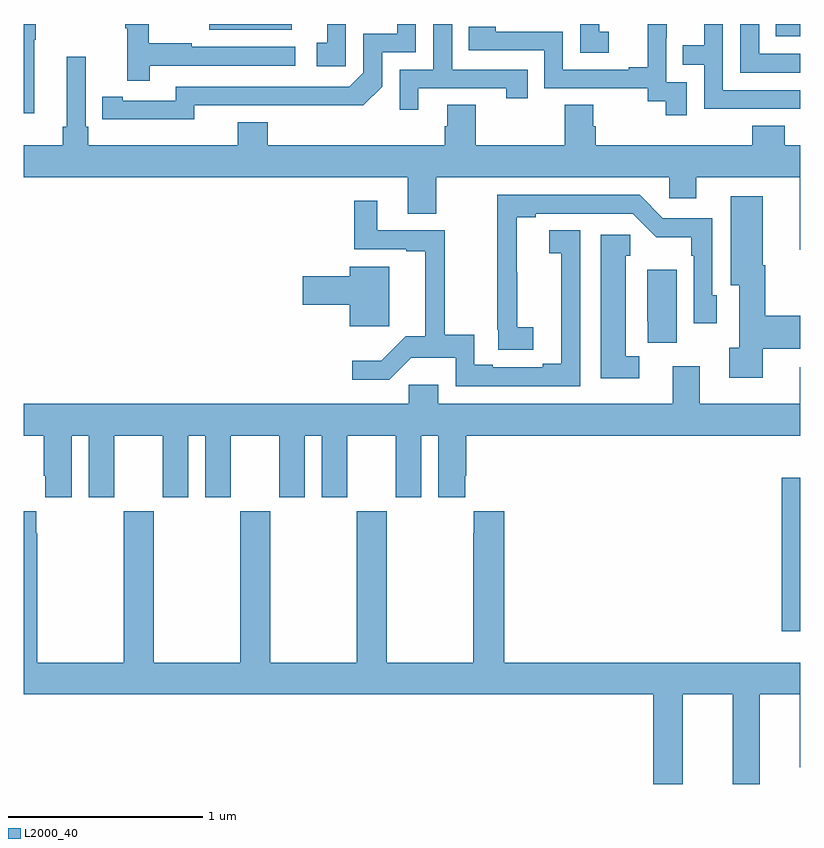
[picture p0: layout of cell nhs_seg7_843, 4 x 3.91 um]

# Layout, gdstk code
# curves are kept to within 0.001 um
import gdstk
lib = gdstk.Library(unit=1e-6, precision=1e-09)
def R(c, l, rs):  # rectangles x0, y0, x1, y1
    for r in rs: c.add(gdstk.rectangle(r[:2], r[2:], *l))
def P(c, l, *ps):  # polygons
    for p in ps: c.add(gdstk.Polygon(p, *l))
L2000_40 = (2000, 40)

nhs_seg7_843 = lib.new_cell('nhs_seg7_843')
R(nhs_seg7_843, L2000_40, [(176.904,1068.873,177,1069.664), (176.872,1071.938,177,1072), (173.955,1071.971,174.382,1072)])
P(nhs_seg7_843, L2000_40, [(174.66,1072),(174.563,1072),(174.563,1071.903),(174.51,1071.903),(174.51,1071.783),(174.66,1071.783)],
  [(176.014,1071.961),(175.965,1071.961),(175.965,1072),(175.866,1072),(175.866,1071.852),(176.014,1071.852)],
  [(175.033,1071.669),(175.484,1071.669),(175.484,1071.618),(175.595,1071.618),(175.595,1071.765),(175.206,1071.765),(175.206,1072),(175.11,1072),(175.11,1071.765),(174.936,1071.765),(174.936,1071.558),(175.033,1071.558)],
  [(176.415,1071.699),(176.31,1071.699),(176.31,1071.929),(176.312,1071.929),(176.312,1072),(176.213,1072),(176.213,1071.778),(176.117,1071.778),(176.117,1071.765),(175.776,1071.765),(175.776,1071.96),(175.431,1071.96),(175.431,1071.987),(175.291,1071.987),(175.291,1071.864),(175.68,1071.864),(175.68,1071.669),(176.214,1071.669),(176.214,1071.601),(176.307,1071.601),(176.307,1071.531),(176.415,1071.531)],
  [(177,1071.66),(176.601,1071.66),(176.601,1072),(176.505,1072),(176.505,1071.89),(176.395,1071.89),(176.395,1071.789),(176.505,1071.789),(176.505,1071.564),(177,1071.564)],
  [(177,1071.846),(176.787,1071.846),(176.787,1072),(176.691,1072),(176.691,1071.75),(177,1071.75)],
  [(173.056,1071.919),(173.064,1071.919),(173.064,1072),(173,1072),(173,1071.54),(173.056,1071.54)],
  [(173.88,1071.582),(174.748,1071.581),(174.846,1071.678),(174.846,1071.855),(175.02,1071.855),(175.02,1072),(174.923,1072),(174.923,1071.951),(174.75,1071.951),(174.75,1071.75),(174.678,1071.678),(173.784,1071.678),(173.784,1071.606),(173.512,1071.606),(173.512,1071.626),(173.404,1071.626),(173.404,1071.51),(173.88,1071.509)],
  [(173.651,1071.786),(174.4,1071.786),(174.4,1071.882),(173.867,1071.882),(173.867,1071.902),(173.644,1071.902),(173.644,1072),(173.523,1072),(173.523,1071.979),(173.534,1071.979),(173.534,1071.708),(173.651,1071.708)],
  [(177,1071.376),(176.918,1071.376),(176.918,1071.475),(176.753,1071.475),(176.753,1071.376),(175.946,1071.376),(175.946,1071.474),(175.933,1071.474),(175.933,1071.584),(175.786,1071.584),(175.786,1071.376),(175.329,1071.376),(175.329,1071.584),(175.181,1071.584),(175.181,1071.474),(175.169,1071.474),(175.169,1071.376),(174.257,1071.376),(174.257,1071.493),(174.104,1071.493),(174.104,1071.376),(173.333,1071.376),(173.333,1071.472),(173.319,1071.472),(173.319,1071.832),(173.222,1071.832),(173.222,1071.472),(173.203,1071.472),(173.203,1071.376),(173,1071.376),(173,1071.212),(174.977,1071.212),(174.977,1071.022),(175.125,1071.022),(175.125,1071.212),(176.325,1071.212),(176.325,1071.102),(176.464,1071.102),(176.464,1071.212),(176.996,1071.212),(176.996,1070.838),(177,1070.838)],
  [(175.624,1070.438),(175.542,1070.438),(175.54,1071.004),(175.636,1071.004),(175.636,1071.024),(176.136,1071.024),(176.257,1070.903),(176.439,1070.903),(176.439,1070.807),(176.451,1070.807),(176.451,1070.46),(176.568,1070.46),(176.568,1070.604),(176.547,1070.604),(176.547,1071),(176.292,1071),(176.172,1071.12),(175.438,1071.12),(175.438,1070.425),(175.444,1070.425),(175.444,1070.323),(175.624,1070.323)],
  [(176.806,1070.327),(177,1070.327),(177,1070.498),(176.819,1070.498),(176.819,1070.758),(176.806,1070.758),(176.806,1071.112),(176.642,1071.112),(176.642,1070.654),(176.684,1070.654),(176.684,1070.334),(176.634,1070.334),(176.634,1070.178),(176.806,1070.178)],
  [(175.866,1070.939),(175.707,1070.939),(175.707,1070.819),(175.768,1070.819),(175.769,1070.252),(175.673,1070.252),(175.673,1070.232),(175.417,1070.232),(175.417,1070.246),(175.32,1070.246),(175.32,1070.399),(175.169,1070.399),(175.169,1070.937),(174.82,1070.937),(174.82,1071.091),(174.703,1071.091),(174.703,1070.841),(174.971,1070.841),(174.971,1070.829),(175.067,1070.829),(175.067,1070.392),(174.967,1070.392),(174.841,1070.266),(174.693,1070.266),(174.693,1070.169),(174.882,1070.169),(174.995,1070.282),(175.224,1070.282),(175.224,1070.136),(175.866,1070.136)],
  [(176.17,1070.289),(176.101,1070.289),(176.101,1070.808),(176.123,1070.808),(176.123,1070.914),(175.973,1070.914),(175.973,1070.177),(176.17,1070.177)],
  [(174.883,1070.749),(174.68,1070.749),(174.68,1070.702),(174.438,1070.702),(174.438,1070.555),(174.68,1070.555),(174.68,1070.444),(174.883,1070.444)],
  [(176.362,1070.734),(176.21,1070.734),(176.21,1070.47),(176.213,1070.47),(176.213,1070.358),(176.362,1070.358)],
  [(173,1069.88),(173.105,1069.88),(173.105,1069.675),(173.111,1069.675),(173.111,1069.563),(173.248,1069.563),(173.248,1069.88),(173.336,1069.88),(173.336,1069.563),(173.467,1069.563),(173.467,1069.88),(173.717,1069.88),(173.717,1069.563),(173.848,1069.563),(173.848,1069.88),(173.936,1069.88),(173.936,1069.563),(174.067,1069.563),(174.067,1069.88),(174.317,1069.88),(174.317,1069.563),(174.448,1069.563),(174.448,1069.88),(174.536,1069.88),(174.536,1069.563),(174.667,1069.563),(174.667,1069.88),(174.917,1069.88),(174.917,1069.563),(175.048,1069.563),(175.048,1069.88),(175.136,1069.88),(175.136,1069.563),(175.273,1069.563),(175.273,1069.675),(175.28,1069.675),(175.28,1069.88),(177,1069.88),(177,1070.233),(176.996,1070.233),(176.996,1070.044),(176.482,1070.044),(176.482,1070.239),(176.342,1070.239),(176.342,1070.044),(175.135,1070.044),(175.135,1070.142),(174.984,1070.142),(174.984,1070.044),(173,1070.044)],
  [(176.395,1068.548),(176.651,1068.548),(176.651,1068.087),(176.791,1068.087),(176.791,1068.548),(176.996,1068.548),(176.996,1068.174),(177,1068.174),(177,1068.712),(175.475,1068.712),(175.475,1069.492),(175.319,1069.492),(175.319,1069.379),(175.315,1069.379),(175.315,1068.712),(174.87,1068.712),(174.87,1069.492),(174.715,1069.492),(174.715,1068.712),(174.27,1068.712),(174.27,1069.492),(174.115,1069.492),(174.115,1068.712),(173.67,1068.712),(173.67,1069.492),(173.515,1069.492),(173.515,1068.712),(173.07,1068.712),(173.07,1069.379),(173.065,1069.379),(173.065,1069.492),(173,1069.492),(173,1068.548),(176.243,1068.548),(176.243,1068.087),(176.395,1068.087)])

lib.write_gds('nhs_seg7_843.gds')
